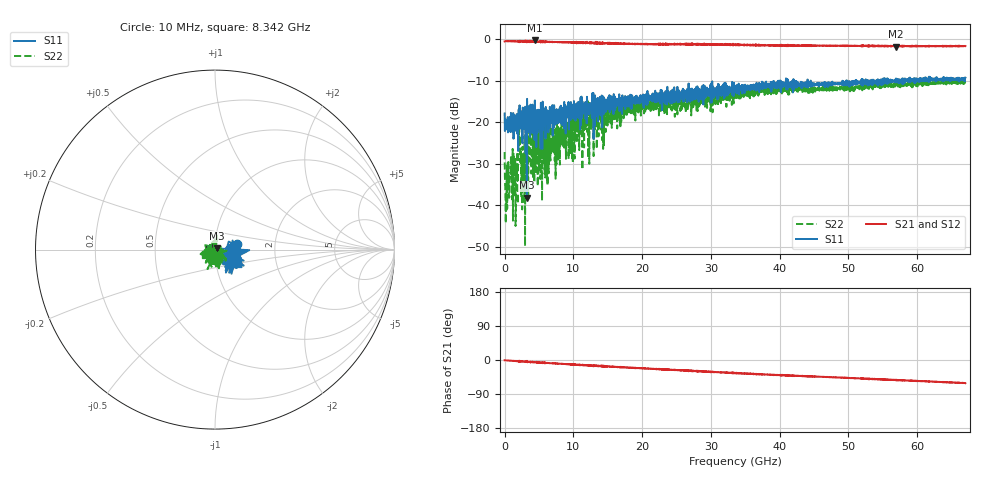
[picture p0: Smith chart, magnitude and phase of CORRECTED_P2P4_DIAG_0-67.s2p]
! Generated by Phase II Calibration
# Hz S RI R 50
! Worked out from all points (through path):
!   1601 points, 10 MHz to 67 GHz, reference 50 ohm
!   highest |S21| = -0.33 dB at 4.406 GHz (marker M1); lowest = -1.8 dB at 56.95 GHz (marker M2)
!   group delay of S21, straight-line fit = 2.44 ps
!   lowest |S11| = -38.1 dB at 3.234 GHz (marker M3), VSWR 1.03, Z = 51.1 + j0.635 ohm
!   |S11| at or under -10 dB: start of sweep to 39.95 GHz; 42.13 GHz to 44.05 GHz (1.917 GHz wide, 4.45 % of centre); 44.52 GHz to 49.71 GHz (5.188 GHz wide, 11 % of centre)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
!   |S22| runs from -49.8 to -10.0 dB; largest |S21 - S12| = 0.0092
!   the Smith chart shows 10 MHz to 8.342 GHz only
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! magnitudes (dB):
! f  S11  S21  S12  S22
! 10 MHz  -17.9  -0.6  -0.5  -27.2
! 428.7 MHz  -20.1  -0.5  -0.5  -31.3
! 679.9 MHz  -20.1  -0.5  -0.5  -38.2
! 1.559 GHz  -20.6  -0.6  -0.5  -28.8
! 2.02 GHz  -18.3  -0.7  -0.6  -24.2
! 2.438 GHz  -21.5  -0.6  -0.6  -38.1
! 2.648 GHz  -16.5  -0.5  -0.4  -35.0
! 2.941 GHz  -21.3  -0.7  -0.7  -23.3
! 3.234 GHz  -38.1  -0.8  -0.8  -21.0
! 3.527 GHz  -19.3  -0.5  -0.5  -25.6
! 4.406 GHz  -14.7  -0.3  -0.3  -23.8
! 5.872 GHz  -18.9  -0.8  -0.8  -18.7
! 6.081 GHz  -17.8  -0.7  -0.7  -21.6
! 8.426 GHz  -16.8  -0.8  -0.8  -21.6
! 11.19 GHz  -13.8  -0.7  -0.7  -21.6
! 13.78 GHz  -14.6  -0.8  -0.8  -18.5
! 22.37 GHz  -13.1  -1.0  -1.0  -15.6
! 33.51 GHz  -12.1  -1.4  -1.4  -14.4
! 44.68 GHz  -10.7  -1.6  -1.6  -12.7
! 55.86 GHz  -10.6  -1.6  -1.6  -11.0
! 56.95 GHz  -10.2  -1.8  -1.8  -11.6
! 67 GHz  -9.3  -1.7  -1.7  -10.3
